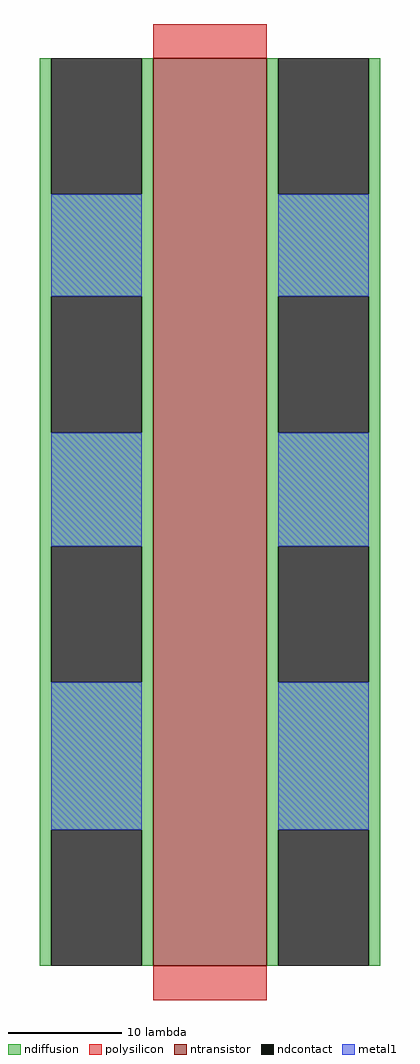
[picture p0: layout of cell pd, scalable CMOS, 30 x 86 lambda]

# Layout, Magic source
magic
tech scmos
<< ntransistor >>
rect -28 -20 -18 60
<< ndiffusion >>
rect -38 48 -37 60
rect -29 48 -28 60
rect -38 39 -28 48
rect -38 27 -37 39
rect -29 27 -28 39
rect -38 17 -28 27
rect -38 5 -37 17
rect -29 5 -28 17
rect -38 -8 -28 5
rect -38 -20 -37 -8
rect -29 -20 -28 -8
rect -18 48 -17 60
rect -9 48 -8 60
rect -18 39 -8 48
rect -18 27 -17 39
rect -9 27 -8 39
rect -18 17 -8 27
rect -18 5 -17 17
rect -9 5 -8 17
rect -18 -8 -8 5
rect -18 -20 -17 -8
rect -9 -20 -8 -8
<< ndcontact >>
rect -37 48 -29 60
rect -37 27 -29 39
rect -37 5 -29 17
rect -37 -20 -29 -8
rect -17 48 -9 60
rect -17 27 -9 39
rect -17 5 -9 17
rect -17 -20 -9 -8
<< polysilicon >>
rect -28 60 -18 63
rect -28 -23 -18 -20
<< metal1 >>
rect -37 39 -29 48
rect -37 17 -29 27
rect -37 -8 -29 5
rect -17 39 -9 48
rect -17 17 -9 27
rect -17 -8 -9 5
<< end >>
